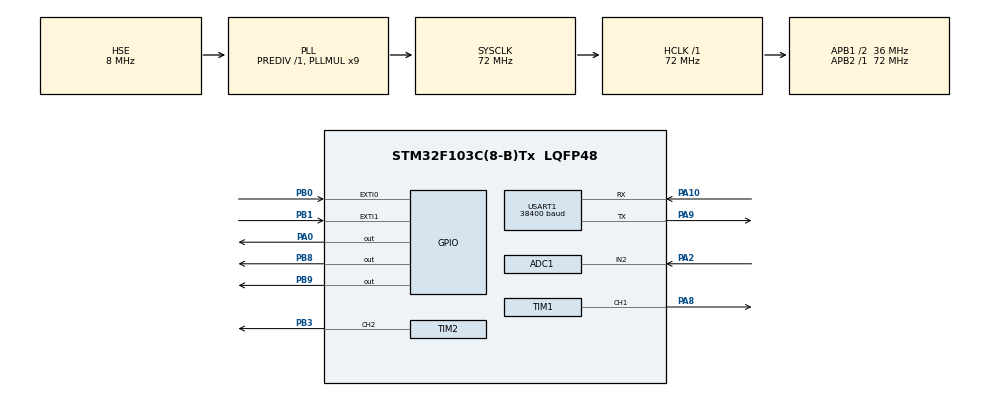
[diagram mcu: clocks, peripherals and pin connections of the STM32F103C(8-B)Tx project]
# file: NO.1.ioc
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ADC1.Channel-1\#ChannelRegularConversion=ADC_CHANNEL_2
ADC1.ContinuousConvMode=ENABLE
ADC1.DataAlign=ADC_DATAALIGN_RIGHT
ADC1.ExternalTrigConv=ADC_EXTERNALTRIGCONV_T2_CC2
ADC1.NbrOfConversion=1
ADC1.NbrOfConversionFlag=1
ADC1.Rank-1\#ChannelRegularConversion=1
ADC1.SamplingTime-1\#ChannelRegularConversion=ADC_SAMPLETIME_1CYCLE_5
ADC1.master=1
Dma.ADC1.0.Direction=DMA_PERIPH_TO_MEMORY
Dma.ADC1.0.Instance=DMA1_Channel1
Dma.ADC1.0.MemDataAlignment=DMA_MDATAALIGN_HALFWORD
Dma.ADC1.0.MemInc=DMA_MINC_ENABLE
Dma.ADC1.0.Mode=DMA_NORMAL
Dma.ADC1.0.PeriphDataAlignment=DMA_PDATAALIGN_HALFWORD
Dma.ADC1.0.PeriphInc=DMA_PINC_DISABLE
Dma.ADC1.0.Priority=DMA_PRIORITY_HIGH
Dma.Request0=ADC1
Mcu.Family=STM32F1
Mcu.Name=STM32F103C(8-B)Tx
Mcu.Package=LQFP48
NVIC.DMA1_Channel1_IRQn=true\:3\:0\:true\:false\:true\:false\:true\:true
NVIC.EXTI0_IRQn=true\:2\:0\:true\:false\:true\:true\:true\:true
NVIC.EXTI1_IRQn=true\:2\:0\:true\:false\:true\:true\:true\:true
NVIC.PriorityGroup=NVIC_PRIORITYGROUP_4
PA0-WKUP.GPIO_PuPd=GPIO_PULLDOWN
PA0-WKUP.GPIO_Speed=GPIO_SPEED_FREQ_HIGH
PA0-WKUP.PinState=GPIO_PIN_RESET
PA0-WKUP.Signal=GPIO_Output
PA10.Mode=Asynchronous
PA10.Signal=USART1_RX
PA13.Mode=Serial_Wire
PA13.Signal=SYS_JTMS-SWDIO
PA14.Mode=Serial_Wire
PA14.Signal=SYS_JTCK-SWCLK
PA2.Signal=ADCx_IN2
PA8.Signal=S_TIM1_CH1
PA9.Mode=Asynchronous
PA9.Signal=USART1_TX
PB0.GPIO_ModeDefaultEXTI=GPIO_MODE_IT_FALLING
PB0.GPIO_PuPd=GPIO_PULLUP
PB0.Signal=GPXTI0
PB1.GPIO_ModeDefaultEXTI=GPIO_MODE_IT_FALLING
PB1.GPIO_PuPd=GPIO_PULLUP
PB1.Signal=GPXTI1
PB3.Signal=S_TIM2_CH2
PB8.Signal=GPIO_Output
PB9.Signal=GPIO_Output
PD0-OSC_IN.Mode=HSE-External-Oscillator
PD0-OSC_IN.Signal=RCC_OSC_IN
PD1-OSC_OUT.Mode=HSE-External-Oscillator
PD1-OSC_OUT.Signal=RCC_OSC_OUT
ProjectManager.HeapSize=0x200
ProjectManager.StackSize=0x400
ProjectManager.TargetToolchain=MDK-ARM V5.32
RCC.ADCPresc=RCC_ADCPCLK2_DIV6
RCC.AHBFreq_Value=72000000
RCC.APB1CLKDivider=RCC_HCLK_DIV2
RCC.APB1Freq_Value=36000000
RCC.APB1TimFreq_Value=72000000
RCC.APB2Freq_Value=72000000
RCC.APB2TimFreq_Value=72000000
RCC.HCLKFreq_Value=72000000
RCC.PLLMUL=RCC_PLL_MUL9
RCC.PLLSourceVirtual=RCC_PLLSOURCE_HSE
RCC.SYSCLKFreq_VALUE=72000000
RCC.SYSCLKSource=RCC_SYSCLKSOURCE_PLLCLK
RCC.USBFreq_Value=72000000
SH.ADCx_IN2.0=ADC1_IN2,IN2
SH.S_TIM1_CH1.0=TIM1_CH1,PWM Generation1 CH1
SH.S_TIM2_CH2.0=TIM2_CH2,Output Compare2 CH2
TIM1.Channel-PWM\ Generation1\ CH1=TIM_CHANNEL_1
TIM1.Period=1000-1
TIM1.Prescaler=72-1
TIM1.Pulse-PWM\ Generation1\ CH1=500
TIM2.Channel-Output\ Compare2\ CH2=TIM_CHANNEL_2
TIM2.OCMode_2=TIM_OCMODE_TOGGLE
TIM2.Period=1000-1
TIM2.Prescaler=72-1
TIM2.Pulse-Output\ Compare2\ CH2=500
USART1.BaudRate=38400
USART1.VirtualMode=VM_ASYNC
VP_TIM2_VS_ClockSourceINT.Mode=Internal
board=custom

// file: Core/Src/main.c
/* USER CODE BEGIN Header */
/**
 ******************************************************************************
 * @file           : main.c
 * @brief          : Main program body
 ******************************************************************************
 * @attention
 *
 * Copyright (c) 2024 STMicroelectronics.
 * All rights reserved.
 *
 * This software is licensed under terms that can be found in the LICENSE file
 * in the root directory of this software component.
 * If no LICENSE file comes with this software, it is provided AS-IS.
 *
 ******************************************************************************
 */
/* USER CODE END Header */
#include "main.h"
#include "adc.h"
//#include "dma.h"
#include "tim.h"
#include "usart.h"
#include "gpio.h"

/* USER CODE BEGIN Includes */
#include "stdio.h"
#include "oled.h"
/* USER CODE END Includes */

/* USER CODE BEGIN PD */
#define DATA_SIZE 20
/* USER CODE END PD */

/* USER CODE BEGIN PV */
uint16_t temp[DATA_SIZE] = {0};
uint8_t flag1 = 0;
uint8_t exti_flag1 = 0;
uint8_t exti_flag2 = 0;
float temper = 1;
int8_t t_up = 50;
int8_t t_down = 30;
int test = 0;
/* USER CODE END PV */

void SystemClock_Config(void);

/* USER CODE BEGIN 0 */
//
int fputc(int ch, FILE *f)
{
  HAL_UART_Transmit(&huart1, (uint8_t *)&ch, 1, 0xffff);
  return ch;
}

int fgetc(FILE *f)
{
  uint8_t ch = 0;
  HAL_UART_Receive(&huart1, &ch, 1, 0xffff);
  return ch;
}

//
void HAL_ADC_ConvCpltCallback(ADC_HandleTypeDef *hadc)
{
  flag1 = 1;
}

//
void HAL_GPIO_EXTI_Callback(uint16_t GPIO_Pin)
{
  HAL_Delay(10);
  if (HAL_GPIO_ReadPin(GPIOB, GPIO_PIN_1) == GPIO_PIN_RESET)
  {
    t_up++;
    t_down++;
    //		  printf("Test_1\n");
  }
  if (HAL_GPIO_ReadPin(GPIOB, GPIO_PIN_0) == GPIO_PIN_RESET)
  {
    t_up--;
    t_down--;
    //		  printf("Test_2\n");
  }
}

typedef struct _Range {
    int start, end;
} Range;

Range new_Range(int s, int e) {
    Range r;
    r.start = s;
    r.end = e;
    return r;
}

void swap(uint16_t *x, uint16_t *y) {
    int t = *x;
    *x = *y;
    *y = t;
}

void quick_sort(uint16_t arr[], const int len) {
    if (len <= 0)
        return; // 避免len等於負�?�時引發段錯誤（Segment Fault�?
    // r[]模擬列表,p為數�?,r[p++]為push,r[--p]為pop且取得元�?
    Range r[len];
    int p = 0;
    r[p++] = new_Range(0, len - 1);
    while (p) {
        Range range = r[--p];
        if (range.start >= range.end)
            continue;
        int mid = arr[(range.start + range.end) / 2]; // 選取中間點為基準�?
        int left = range.start, right = range.end;
        do {
            while (arr[left] < mid) ++left;   // 檢測基準點左側是否符合要�?
            while (arr[right] > mid) --right; //檢測基準點右側是否符合要�?
            if (left <= right) {
                swap(&arr[left], &arr[right]);
                left++;
                right--;               // 移動指針以繼�?
            }
        } while (left <= right);
        if (range.start < right) r[p++] = new_Range(range.start, right);
        if (range.end > left) r[p++] = new_Range(left, range.end);
    }
}
/* USER CODE END 0 */

int main(void)
{

  /* MCU Configuration--------------------------------------------------------*/

  /* Reset of all peripherals, Initializes the Flash interface and the Systick. */
  HAL_Init();

  /* Configure the system clock */
  SystemClock_Config();

  /* Initialize all configured peripherals */
  MX_GPIO_Init();
  MX_DMA_Init();
  MX_ADC1_Init();
  MX_USART1_UART_Init();
  MX_TIM2_Init();
  MX_TIM1_Init();
  /* USER CODE BEGIN 2 */
  OLED_Init(); // OLED��ʼ��
  OLED_Clear();
  OLED_Display_On();
  HAL_TIM_Base_Start(&htim2);
  HAL_TIM_OC_Start(&htim2, TIM_CHANNEL_2);
  HAL_ADC_Start_DMA(&hadc1, (uint32_t *)temp, 10);
  HAL_ADCEx_Calibration_Start(&hadc1);
  HAL_TIM_PWM_Init(&htim1);
  HAL_TIM_PWM_Start(&htim1,TIM_CHANNEL_1);
  /* USER CODE END 2 */

  /* Infinite loop */
  /* USER CODE BEGIN WHILE */
  while (1)
  {
    // HAL_UART_Transmit(&huart1,(uint8_t*)message,strlen(message),100);
    // printf("a\n");

            // // // Average
            // long count  = 0;
            // for (int i = 0; i < DATA_SIZE; i++)
            // {
            //   count += temp[i];
            // }
            // count /= DATA_SIZE;
            // float Temperature = count * 3.3 / 4096 * 1000 / 3 - 273;
      int count = 0;
      quick_sort(temp,DATA_SIZE);
      count = temp[DATA_SIZE/2];
      float Temperature = count * 3.3 / 4095 * 1000 / 3 - 273;
	  Temperature = (Temperature+32.3)*2/3;
	  Temperature = 2.25962 * Temperature + 3.93899;
      printf("Volt-Temp:%f,%f,%d,%d\n", (float)(((count) * 3.3) / 4095), Temperature, t_up, t_down);
      OLED_printf(0, 2, 2, "%-8.1f", Temperature);
      OLED_Refresh_Gram();
      flag1 = 0;
      if (Temperature > t_up)
        __HAL_TIM_SetCompare(&htim1, TIM_CHANNEL_1, 0);
      else if (Temperature < t_down)
        __HAL_TIM_SetCompare(&htim1, TIM_CHANNEL_1, htim1.Init.Period);
      else
        __HAL_TIM_SetCompare(&htim1, TIM_CHANNEL_1, (t_up-Temperature)/20*htim1.Init.Period);
      HAL_ADC_Start_DMA(&hadc1, (uint32_t *)temp, DATA_SIZE);
      HAL_Delay(10);

      while (!flag1) continue;
    /* USER CODE END WHILE */

  }
}

void SystemClock_Config(void)
{
  RCC_OscInitTypeDef RCC_OscInitStruct = {0};
  RCC_ClkInitTypeDef RCC_ClkInitStruct = {0};
  RCC_PeriphCLKInitTypeDef PeriphClkInit = {0};

  /** Initializes the RCC Oscillators according to the specified parameters
  * in the RCC_OscInitTypeDef structure.
  */
  RCC_OscInitStruct.OscillatorType = RCC_OSCILLATORTYPE_HSE;
  RCC_OscInitStruct.HSEState = RCC_HSE_ON;
  RCC_OscInitStruct.HSEPredivValue = RCC_HSE_PREDIV_DIV1;
  RCC_OscInitStruct.HSIState = RCC_HSI_ON;
  RCC_OscInitStruct.PLL.PLLState = RCC_PLL_ON;
  RCC_OscInitStruct.PLL.PLLSource = RCC_PLLSOURCE_HSE;
  RCC_OscInitStruct.PLL.PLLMUL = RCC_PLL_MUL9;
  if (HAL_RCC_OscConfig(&RCC_OscInitStruct) != HAL_OK)
  {
    Error_Handler();
  }

  /** Initializes the CPU, AHB and APB buses clocks
  */
  RCC_ClkInitStruct.ClockType = RCC_CLOCKTYPE_HCLK|RCC_CLOCKTYPE_SYSCLK
                              |RCC_CLOCKTYPE_PCLK1|RCC_CLOCKTYPE_PCLK2;
  RCC_ClkInitStruct.SYSCLKSource = RCC_SYSCLKSOURCE_PLLCLK;
  RCC_ClkInitStruct.AHBCLKDivider = RCC_SYSCLK_DIV1;
  RCC_ClkInitStruct.APB1CLKDivider = RCC_HCLK_DIV2;
  RCC_ClkInitStruct.APB2CLKDivider = RCC_HCLK_DIV1;

  if (HAL_RCC_ClockConfig(&RCC_ClkInitStruct, FLASH_LATENCY_2) != HAL_OK)
  {
    Error_Handler();
  }
  PeriphClkInit.PeriphClockSelection = RCC_PERIPHCLK_ADC;
  PeriphClkInit.AdcClockSelection = RCC_ADCPCLK2_DIV6;
  if (HAL_RCCEx_PeriphCLKConfig(&PeriphClkInit) != HAL_OK)
  {
    Error_Handler();
  }
}

void Error_Handler(void)
{
  __disable_irq();
  while (1)
  {
  }
}
